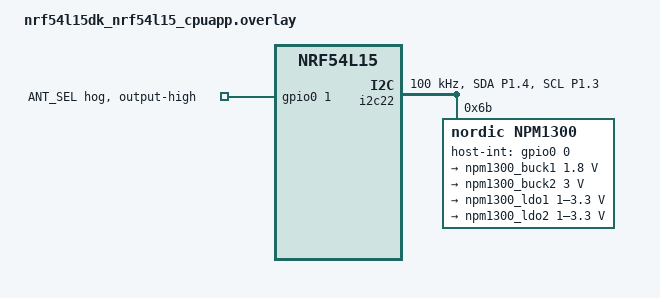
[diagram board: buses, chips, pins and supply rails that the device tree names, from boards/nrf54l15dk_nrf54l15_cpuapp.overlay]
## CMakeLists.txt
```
# SPDX-License-Identifier: Apache-2.0
cmake_minimum_required(VERSION 3.20.0)

find_package(Zephyr REQUIRED HINTS $ENV{ZEPHYR_BASE})
project(nordic_solar_04_ble_battery_solar)

target_sources(app PRIVATE
	src/main.c
	src/solar_service.c
)
```

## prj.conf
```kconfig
# Nordic_Solar — Stage 4: BLE peripheral (battery + solar status)

# --- nPM1300 charger sensor ---
CONFIG_I2C=y
CONFIG_MFD=y
CONFIG_REGULATOR=y
CONFIG_GPIO=y
CONFIG_SENSOR=y
CONFIG_NPM13XX_CHARGER=y
CONFIG_LED=y
CONFIG_LED_NPM13XX=y

# --- Bluetooth LE peripheral ---
CONFIG_BT=y
CONFIG_BT_PERIPHERAL=y
# Appearance 1360 = Generic Sensor
CONFIG_BT_DEVICE_NAME="Nordic_Solar"
CONFIG_BT_DEVICE_APPEARANCE=1360
CONFIG_BT_MAX_CONN=1

# Standard Battery Service
CONFIG_BT_BAS=y

# --- Floating point (log formatting / SoC math) ---
CONFIG_FPU=y
CONFIG_CBPRINTF_FP_SUPPORT=y

# --- Console / logging over RTT ---
CONFIG_LOG=y
CONFIG_USE_SEGGER_RTT=y
CONFIG_LOG_BACKEND_RTT=y
CONFIG_LOG_BACKEND_UART=n
CONFIG_SERIAL=n

# No 32.768 kHz crystal on this board (DK default is LFXO).
CONFIG_CLOCK_CONTROL_NRF_K32SRC_RC=y
CONFIG_NRF_GRTC_TIMER_SOURCE_LFLPRC=y
```

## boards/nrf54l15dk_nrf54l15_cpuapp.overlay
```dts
/*
 * Nordic_Solar — shared devicetree overlay for the nRF54L15 + nPM1300 board (v2)
 * Target: nrf54l15dk/nrf54l15/cpuapp
 *
 * This describes the nPM1300 PMIC as it is wired on your v2 board:
 *   - I2C @ 0x6B, 3.0 V bus (VDDIO = BUCK2)
 *   - BUCK1 = 1.8 V (RF antenna switch only), BUCK2 = 3.0 V (SoC + logic)
 *   - Charger fed by USB-C + solar diode-OR'd into VBUS/CHG_IN
 *   - NTC pin faked with a fixed 10 kOhm resistor (~25 C), no real thermistor
 *   - Status LED on nPM1300 LED0 (host-controlled)
 *
 * The SAME overlay is used by all four bring-up apps. Copy it into each app's
 * boards/ directory (it is already placed there).
 *
 * I2C (nRF54L15 QFN): SCL = pin 4 / P1.03, SDA = pin 5 / P1.04.
 * P1.03 is NFC2 by default — UICR nfct-pins-as-gpios is required or SCL
 * never leaves the pad. uart20 is disabled (DK uses P1.04 as UART TX).
 */

&uicr {
	nfct-pins-as-gpios;
};

&nfct {
	status = "disabled";
};

&pinctrl {
	i2c_pmic_default: i2c_pmic_default {
		group1 {
			psels = <NRF_PSEL(TWIM_SDA, 1, 4)>,    /* P1.04, QFN pin 5 */
				<NRF_PSEL(TWIM_SCL, 1, 3)>;    /* P1.03, QFN pin 4 */
			bias-pull-up;
		};
	};

	i2c_pmic_sleep: i2c_pmic_sleep {
		group1 {
			psels = <NRF_PSEL(TWIM_SDA, 1, 4)>,
				<NRF_PSEL(TWIM_SCL, 1, 3)>;
			low-power-enable;
		};
	};
};

/* DK uart20 uses P1.04 (our SDA). uart30 uses P0.00 (our PMIC_INT). */
&uart20 {
	status = "disabled";
};

&uart30 {
	status = "disabled";
};

&spi22 {
	status = "disabled";
};

/*
 * FM8625H antenna switch (VDD = BUCK1 / VOUT1 = 1.8 V):
 *   VCTL low  -> ANT to RF1 -> chip antenna (2450AT18A100E)
 *   VCTL high -> ANT to RF2 -> ECT818000500 connector
 * ANT_SEL = P0.01 (QFN pin 24). Hold high for the ECT818000500 connector.
 */
&gpio0 {
	ant_sel_hog {
		gpio-hog;
		gpios = <1 GPIO_ACTIVE_HIGH>;
		output-high;
		line-name = "ANT_SEL";
	};
};

/*
 * nRF54L15 DK board files enable the 32.768 kHz LFXO. This custom board
 * does not have that crystal, so GRTC init waits forever and main() never
 * runs. Use the internal LF RC instead.
 */
&lfxo {
	status = "disabled";
};

&i2c22 {
	status = "okay";
	pinctrl-0 = <&i2c_pmic_default>;
	pinctrl-1 = <&i2c_pmic_sleep>;
	pinctrl-names = "default", "sleep";
	clock-frequency = <I2C_BITRATE_STANDARD>;   /* 100 kHz; PMIC also supports 400 kHz */

	npm1300: pmic@6b {
		compatible = "nordic,npm1300";
		reg = <0x6b>;

		/* nPM1300 GPIO0 (pin 7) -> PMIC_INT -> nRF54L15 P0.00 (QFN pin 23). */
		host-int-gpios = <&gpio0 0 0>;
		pmic-int-pin   = <0>;

		npm1300_gpio: gpio-controller {
			compatible = "nordic,npm1300-gpio";
			gpio-controller;
			#gpio-cells = <2>;
			ngpios = <5>;
		};

		npm1300_regulators: regulators {
			compatible = "nordic,npm1300-regulator";

			/* BUCK1 = 1.8 V (RF antenna switch rail) — Config 1 sets this
			 * from the VSET resistors; declared here so it can be read back.
			 */
			npm1300_buck1: BUCK1 {
				regulator-min-microvolt = <1800000>;
				regulator-max-microvolt = <1800000>;
				regulator-boot-on;
			};

			/* BUCK2 = 3.0 V (VDDIO — powers the SoC; do NOT turn this off) */
			npm1300_buck2: BUCK2 {
				regulator-min-microvolt = <3000000>;
				regulator-max-microvolt = <3000000>;
				regulator-boot-on;
				regulator-always-on;
			};

			/* LDO1/LDO2 unused on this board */
			npm1300_ldo1: LDO1 {
				regulator-min-microvolt = <1000000>;
				regulator-max-microvolt = <3300000>;
			};
			npm1300_ldo2: LDO2 {
				regulator-min-microvolt = <1000000>;
				regulator-max-microvolt = <3300000>;
			};
		};

		npm1300_charger: charger {
			compatible = "nordic,npm1300-charger";

			/* --- LiPo charge profile (400 mAh cell) --- */
			term-microvolt = <4200000>;     /* 4.2 V CV termination */
			term-warm-microvolt = <4100000>;/* lower target when warm */
			current-microamp = <200000>;    /* 200 mA (~0.5C for 400 mAh) */
			term-current-percent = <10>;    /* stop at 10% of ICHG */

			/* --- Input current limit ---
			 * Default hardware limit is ~100 mA. Raise it so USB/solar can
			 * actually deliver charge current. 500 mA is safe for USB-C;
			 * for solar-only the SPV1040T just supplies what it can.
			 */
			vbus-limit-microamp = <500000>;

			/* --- Battery discharge current limit --- */
			dischg-limit-microamp = <1000000>;

			/* --- NTC / thermistor ---
			 * Your board fakes the NTC with a fixed 10k to GND (no real
			 * thermistor). A 10k/3380 config reads a static ~25 C, so
			 * charging never NTC-faults. WARNING: there is NO real battery
			 * temperature protection — see README before outdoor deployment.
			 */
			thermistor-ohms = <10000>;
			thermistor-beta = <3380>;

			/* Enable charging at boot. Comment out to leave the charger off
			 * and enable/observe behaviour purely from firmware.
			 */
			charging-enable;
		};

		/*
		 * nPM1300 LED driver. This registers ONE Zephyr LED device
		 * (nodelabel npm1300_leds); the three LEDs are addressed by index
		 * 0/1/2 through the LED API (e.g. led_on(dev, 0)). There are no
		 * child nodes.
		 *
		 * LED0 = board status LED (VSYS -> R14 -> nPM1300 pin 25).
		 * "host": solid as a bench load; 1 Hz blink while AEM
		 * is charging the cell (no VBUS, IBAT > 0).
		 */
		npm1300_leds: leds {
			compatible = "nordic,npm1300-led";
			nordic,led0-mode = "host";
			nordic,led1-mode = "error";
			nordic,led2-mode = "host";
		};
	};
};
```

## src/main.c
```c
/*
 * Nordic_Solar — Stage 4: BLE peripheral (battery + solar status)
 *
 * Combines everything: reads the nPM1300 charger, drives the standard
 * Bluetooth Battery Service (battery %), and publishes a custom service with
 * battery voltage, charge current, charge state, and VBUS/solar presence.
 *
 * LED0: solid as a bench load; 1 Hz blink while AEM is charging the cell.
 *
 * Test with "nRF Connect for Mobile":
 *   - Scan for "Nordic_Solar", connect.
 *   - Battery Service shows the level; the custom service (UUID 5c1b0000-...)
 *     exposes the packed status — enable notifications to watch it live.
 *
 * Console (RTT) mirrors the same values for bench debugging.
 */

#include <zephyr/kernel.h>
#include <zephyr/sys/atomic.h>
#include <zephyr/device.h>
#include <zephyr/drivers/led.h>
#include <zephyr/drivers/sensor.h>
#include <zephyr/drivers/sensor/npm13xx_charger.h>
#include <zephyr/bluetooth/bluetooth.h>
#include <zephyr/bluetooth/gatt.h>
#include <zephyr/bluetooth/services/bas.h>
#include <zephyr/logging/log.h>

#include "solar_service.h"

LOG_MODULE_REGISTER(main, LOG_LEVEL_INF);

#define CHARGER_NODE    DT_NODELABEL(npm1300_charger)
#define PMIC_LED_NODE   DT_NODELABEL(npm1300_leds)
#define STATUS_LED_IDX  0

#define CHG_STATUS_BATTERY_DETECTED BIT(0)
#define CHG_STATUS_COMPLETE         BIT(1)
#define CHG_STATUS_TRICKLE          BIT(2)
#define CHG_STATUS_CC               BIT(3)
#define CHG_STATUS_CV               BIT(4)

#define VBUS_PRESENT   BIT(0)

/* AEM10330 STO_CFG=LLLL (v3): charge to 4.05 V, ready 3.50 V, cut-off 3.00 V.
 * USB via nPM1300 still terminates at 4.20 V, so a USB-full cell is AEM-BLOCKED.
 */
#define AEM_VOVCH_MV        4050
#define AEM_VCHRDY_MV       3500
#define AEM_VOVDIS_MV       3000
#define AEM_IBAT_CHG_MA     3
#define VBAT_PRESENT_MIN_MV 2500
#define VBAT_PRESENT_MAX_MV 4500

/* Simple voltage->SoC estimate for a single LiPo cell. Good enough for a
 * status readout; swap in the nRF Fuel Gauge library (CONFIG_NRF_FUEL_GAUGE)
 * for accurate coulomb-counted SoC.
 */
#define VBAT_EMPTY_MV 3300
#define VBAT_FULL_MV  4200

/* LED0: solid until AEM charge, then one 200 ms blink each second. */
#define LED_BLINK_ON_MS       200
#define LED_BLINK_GAP_MS      200
#define LED_AEM_BURST         1
#define LED_AEM_PERIOD_MS     1000

enum status_led_mode {
	LED_MODE_OFF,
	LED_MODE_SOLID,
	LED_MODE_BLINK_AEM,
};

static const struct device *charger = DEVICE_DT_GET(CHARGER_NODE);
static const struct device *status_led = DEVICE_DT_GET(PMIC_LED_NODE);
static enum status_led_mode led_mode = LED_MODE_OFF;
static bool led_aem_charging;
static atomic_t ble_connected;
static atomic_t ble_advertising;
static uint8_t blink_burst;
static uint8_t blinks_remaining;
static uint32_t blink_period_ms;
static void led_blink_on_fn(struct k_work *work);
static void led_blink_off_fn(struct k_work *work);
static void led_refresh_fn(struct k_work *work);
static K_WORK_DELAYABLE_DEFINE(led_blink_on_work, led_blink_on_fn);
static K_WORK_DELAYABLE_DEFINE(led_blink_off_work, led_blink_off_fn);
static K_WORK_DEFINE(led_refresh_work, led_refresh_fn);

static const struct bt_data ad[] = {
	BT_DATA_BYTES(BT_DATA_FLAGS, (BT_LE_AD_GENERAL | BT_LE_AD_NO_BREDR)),
	BT_DATA(BT_DATA_NAME_COMPLETE, CONFIG_BT_DEVICE_NAME,
		sizeof(CONFIG_BT_DEVICE_NAME) - 1),
};

static uint8_t soc_from_mv(uint16_t mv)
{
	if (mv <= VBAT_EMPTY_MV) {
		return 0;
	}
	if (mv >= VBAT_FULL_MV) {
		return 100;
	}
	return (uint8_t)(((uint32_t)(mv - VBAT_EMPTY_MV) * 100) /
			 (VBAT_FULL_MV - VBAT_EMPTY_MV));
}

static enum solar_charge_state decode_state(int status, uint16_t vbat_mv)
{
	if (status & CHG_STATUS_COMPLETE) {
		return SOLAR_CHG_COMPLETE;
	}
	if (status & CHG_STATUS_CV) {
		return SOLAR_CHG_CV;
	}
	if (status & CHG_STATUS_CC) {
		return SOLAR_CHG_CC;
	}
	if (status & CHG_STATUS_TRICKLE) {
		return SOLAR_CHG_TRICKLE;
	}
	/* BIT(0) BATTERYDETECTED is reserved/always 0 on this nPM1300 path.
	 * A real LiPo voltage means the cell is present even when idle.
	 */
	if ((status & CHG_STATUS_BATTERY_DETECTED) ||
	    ((vbat_mv >= VBAT_PRESENT_MIN_MV) && (vbat_mv <= VBAT_PRESENT_MAX_MV))) {
		return SOLAR_CHG_IDLE;
	}
	return SOLAR_CHG_NO_BATTERY;
}

static const char *state_str(enum solar_charge_state s)
{
	switch (s) {
	case SOLAR_CHG_COMPLETE: return "COMPLETE";
	case SOLAR_CHG_CV:       return "CV";
	case SOLAR_CHG_CC:       return "CC";
	case SOLAR_CHG_TRICKLE:  return "TRICKLE";
	case SOLAR_CHG_IDLE:     return "IDLE";
	default:                 return "NO-BATT";
	}
}

static bool vbus_present(void)
{
	struct sensor_value val = {0};

	if (sensor_attr_get(charger,
			    (enum sensor_channel)SENSOR_CHAN_NPM13XX_CHARGER_VBUS_STATUS,
			    (enum sensor_attribute)SENSOR_ATTR_NPM13XX_CHARGER_VBUS_PRESENT,
			    &val) < 0) {
		return false;
	}
	return val.val1 != 0;
}

/* USB-C CC detect (not VBUS). Solar through the SPV1040T has no CC. */
static bool usb_cc_present(void)
{
	struct sensor_value val = {0};

	if (sensor_attr_get(charger, SENSOR_CHAN_CURRENT,
			    SENSOR_ATTR_UPPER_THRESH, &val) < 0) {
		return false;
	}
	return (val.val1 != 0) || (val.val2 != 0);
}

static bool charge_active(uint8_t chg)
{
	return (chg == SOLAR_CHG_TRICKLE) ||
	       (chg == SOLAR_CHG_CC) ||
	       (chg == SOLAR_CHG_CV);
}

static const char *aem_window_str(uint16_t mv)
{
	if (mv > AEM_VOVCH_MV) {
		return "AEM-BLOCKED";
	}
	if (mv >= AEM_VCHRDY_MV) {
		return "AEM-OK";
	}
	if (mv >= AEM_VOVDIS_MV) {
		return "AEM-LOW";
	}
	return "AEM-CUTOFF";
}

static const char *input_src_str(bool vbus, bool usb_cc, bool charging, bool aem_chg)
{
	if (vbus) {
		if (usb_cc) {
			return charging ? "USB" : "USB-IDLE";
		}
		return charging ? "USB-NO-CC" : "USB-NO-CC-IDLE";
	}
	return aem_chg ? "AEM" : "BATTERY";
}

static int read_pmic(struct solar_status *s, bool *usb_cc, bool *aem_chg,
		     int *chg_raw, int *err_raw, int *vbus_raw)
{
	struct sensor_value v_bat = {0}, i_bat = {0}, chg = {0}, err = {0}, vbus = {0};
	int ret;

	s->vbus_present = vbus_present() ? 1 : 0;
	*usb_cc = usb_cc_present();

	ret = sensor_sample_fetch(charger);
	if (ret < 0) {
		s->vbat_mv = 0;
		s->ibat_ma = 0;
		s->charge_state = SOLAR_CHG_NO_BATTERY;
		s->battery_pct = 0;
		*aem_chg = false;
		*chg_raw = 0;
		*err_raw = 0;
		*vbus_raw = 0;
		return ret;
	}

	sensor_channel_get(charger, SENSOR_CHAN_GAUGE_VOLTAGE, &v_bat);
	sensor_channel_get(charger, SENSOR_CHAN_GAUGE_AVG_CURRENT, &i_bat);
	sensor_channel_get(charger, SENSOR_CHAN_NPM13XX_CHARGER_STATUS, &chg);
	sensor_channel_get(charger, SENSOR_CHAN_NPM13XX_CHARGER_ERROR, &err);
	sensor_channel_get(charger, SENSOR_CHAN_NPM13XX_CHARGER_VBUS_STATUS, &vbus);

	float vbat_f = (float)v_bat.val1 + (float)v_bat.val2 / 1000000.0f;
	float ibat_f = (float)i_bat.val1 + (float)i_bat.val2 / 1000000.0f;

	s->vbat_mv = (uint16_t)(vbat_f * 1000.0f);
	s->ibat_ma = (int16_t)(ibat_f * 1000.0f);
	s->charge_state = (uint8_t)decode_state(chg.val1, s->vbat_mv);
	s->battery_pct = soc_from_mv(s->vbat_mv);
	s->vbus_present = (vbus.val1 & VBUS_PRESENT) ? 1 : s->vbus_present;
	*aem_chg = !s->vbus_present && (s->ibat_ma >= AEM_IBAT_CHG_MA);
	*chg_raw = chg.val1;
	*err_raw = err.val1;
	*vbus_raw = vbus.val1;
	return 0;
}

static bool led_is_blinking(enum status_led_mode mode)
{
	return mode == LED_MODE_BLINK_AEM;
}

static enum status_led_mode led_desired_mode(void)
{
	if (led_aem_charging) {
		return LED_MODE_BLINK_AEM;
	}
	return LED_MODE_SOLID;
}

static void led_apply(bool on)
{
	if (!device_is_ready(status_led)) {
		return;
	}

	if (on) {
		led_on(status_led, STATUS_LED_IDX);
	} else {
		led_off(status_led, STATUS_LED_IDX);
	}
}

static void led_blink_stop(void)
{
	(void)k_work_cancel_delayable(&led_blink_on_work);
	(void)k_work_cancel_delayable(&led_blink_off_work);
}

static void led_blink_on_fn(struct k_work *work)
{
	ARG_UNUSED(work);

	if (!led_is_blinking(led_mode)) {
		return;
	}

	led_apply(true);
	k_work_schedule(&led_blink_off_work, K_MSEC(LED_BLINK_ON_MS));
}

static void led_blink_off_fn(struct k_work *work)
{
	uint32_t used_ms;
	uint32_t rest_ms;

	ARG_UNUSED(work);

	if (!led_is_blinking(led_mode)) {
		return;
	}

	led_apply(false);

	if (blinks_remaining > 0) {
		blinks_remaining--;
	}

	if (blinks_remaining > 0) {
		k_work_schedule(&led_blink_on_work, K_MSEC(LED_BLINK_GAP_MS));
		return;
	}

	blinks_remaining = blink_burst;
	used_ms = (uint32_t)blink_burst * LED_BLINK_ON_MS;
	if (blink_burst > 0) {
		used_ms += (uint32_t)(blink_burst - 1) * LED_BLINK_GAP_MS;
	}
	rest_ms = (blink_period_ms > used_ms) ? (blink_period_ms - used_ms) : 0;
	k_work_schedule(&led_blink_on_work, K_MSEC(rest_ms));
}

static void led_refresh_fn(struct k_work *work)
{
	enum status_led_mode mode = led_desired_mode();

	ARG_UNUSED(work);

	if (mode == led_mode) {
		return;
	}

	led_mode = mode;
	led_blink_stop();
	LOG_INF("LED mode %s",
		mode == LED_MODE_SOLID ? "solid" :
		mode == LED_MODE_BLINK_AEM ? "blink-aem" : "off");

	switch (mode) {
	case LED_MODE_SOLID:
		led_apply(true);
		break;
	case LED_MODE_BLINK_AEM:
		blink_burst = LED_AEM_BURST;
		blink_period_ms = LED_AEM_PERIOD_MS;
		blinks_remaining = blink_burst;
		led_blink_on_fn(NULL);
		break;
	default:
		led_apply(false);
		break;
	}
}

static void status_led_update(const struct solar_status *s, bool aem_chg)
{
	ARG_UNUSED(s);
	led_aem_charging = aem_chg;
	(void)k_work_submit(&led_refresh_work);
}

static void status_led_set_connected(bool connected)
{
	atomic_set(&ble_connected, connected ? 1 : 0);
	(void)k_work_submit(&led_refresh_work);
}

static int start_advertising(void)
{
	int ret = bt_le_adv_start(BT_LE_ADV_CONN_FAST_1, ad, ARRAY_SIZE(ad),
				  NULL, 0);

	if (ret && ret != -EALREADY) {
		atomic_set(&ble_advertising, 0);
		LOG_ERR("advertising start failed (%d)", ret);
		(void)k_work_submit(&led_refresh_work);
		return ret;
	}
	atomic_set(&ble_advertising, 1);
	(void)k_work_submit(&led_refresh_work);
	LOG_INF("Advertising as \"%s\"", CONFIG_BT_DEVICE_NAME);
	return 0;
}

/* NCS 3.x: do not call bt_le_adv_start() from disconnected — the conn
 * object is still held (CONFIG_BT_MAX_CONN=1 -> -ENOMEM). Wait for
 * .recycled, then start from a work item (callback is ISR-like).
 */
static void adv_work_handler(struct k_work *work)
{
	ARG_UNUSED(work);
	(void)start_advertising();
}

static K_WORK_DEFINE(adv_work, adv_work_handler);

static void request_advertising(void)
{
	(void)k_work_submit(&adv_work);
}

static void on_connected(struct bt_conn *conn, uint8_t err)
{
	if (err) {
		LOG_ERR("connection failed (0x%02x)", err);
		request_advertising();
		return;
	}
	LOG_INF("BLE connected");
	atomic_set(&ble_advertising, 0);
	status_led_set_connected(true);
}

static void on_disconnected(struct bt_conn *conn, uint8_t reason)
{
	ARG_UNUSED(conn);
	LOG_INF("BLE disconnected (0x%02x)", reason);
	/* Heartbeat immediately; recycled will restart advertising. */
	atomic_set(&ble_advertising, 1);
	status_led_set_connected(false);
}

static void on_recycled(void)
{
	request_advertising();
}

BT_CONN_CB_DEFINE(conn_callbacks) = {
	.connected = on_connected,
	.disconnected = on_disconnected,
	.recycled = on_recycled,
};

int main(void)
{
	struct solar_status s;
	int ret;
	int last_vbat_mv = -1;

	LOG_INF("Nordic_Solar bring-up — Stage 4: BLE battery + AEM/solar service");

	if (!device_is_ready(charger)) {
		LOG_ERR("nPM1300 charger not ready — check I2C wiring/overlay");
		return -ENODEV;
	}

	led_apply(true);
	led_mode = LED_MODE_SOLID;
	LOG_INF("LED held on");

	ret = bt_enable(NULL);
	if (ret) {
		LOG_ERR("bt_enable failed (%d)", ret);
		return ret;
	}
	LOG_INF("Bluetooth initialized");

	request_advertising();

	while (1) {
		bool usb_cc = false;
		bool aem_chg = false;
		int chg_raw = 0;
		int err_raw = 0;
		int vbus_raw = 0;
		int dv_mv = 0;

		ret = read_pmic(&s, &usb_cc, &aem_chg, &chg_raw, &err_raw, &vbus_raw);
		if (ret < 0) {
			LOG_ERR("nPM1300 sample fetch failed (%d)", ret);
			k_msleep(2000);
			continue;
		}

		bt_bas_set_battery_level(s.battery_pct);
		solar_service_update(&s);
		status_led_update(&s, aem_chg);

		if (last_vbat_mv >= 0) {
			dv_mv = (int)s.vbat_mv - last_vbat_mv;
		}
		last_vbat_mv = s.vbat_mv;

		LOG_INF("SRC:%s | VBUS %s | USB-CC %s | %s | I %+d mA %s | "
			"VBAT %u mV dV %+d | %s | chg=0x%02x err=0x%02x vbus=0x%02x",
			input_src_str(s.vbus_present, usb_cc,
				      charge_active(s.charge_state), aem_chg),
			s.vbus_present ? "yes" : "no",
			usb_cc ? "yes" : "no",
			state_str((enum solar_charge_state)s.charge_state),
			s.ibat_ma,
			(s.ibat_ma > 0) ? "chg" : ((s.ibat_ma < 0) ? "dis" : "idle"),
			s.vbat_mv, dv_mv, aem_window_str(s.vbat_mv),
			chg_raw, err_raw, vbus_raw);

		k_msleep(2000);
	}

	return 0;
}
```

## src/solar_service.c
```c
/*
 * Nordic_Solar — custom BLE GATT service implementation.
 *
 * One characteristic (read + notify) carrying a packed struct solar_status.
 * Read it or subscribe to notifications from the nRF Connect for Mobile app.
 */

#include <zephyr/bluetooth/bluetooth.h>
#include <zephyr/bluetooth/gatt.h>
#include <zephyr/bluetooth/uuid.h>
#include <zephyr/logging/log.h>
#include <string.h>

#include "solar_service.h"

LOG_MODULE_REGISTER(solar_svc, LOG_LEVEL_INF);

static struct bt_uuid_128 solar_svc_uuid = BT_UUID_INIT_128(BT_UUID_SOLAR_SVC_VAL);
static struct bt_uuid_128 solar_status_uuid = BT_UUID_INIT_128(BT_UUID_SOLAR_STATUS_VAL);

static struct solar_status last_status;
static bool notify_enabled;

static ssize_t read_status(struct bt_conn *conn, const struct bt_gatt_attr *attr,
			   void *buf, uint16_t len, uint16_t offset)
{
	return bt_gatt_attr_read(conn, attr, buf, len, offset,
				 &last_status, sizeof(last_status));
}

static void status_ccc_changed(const struct bt_gatt_attr *attr, uint16_t value)
{
	notify_enabled = (value == BT_GATT_CCC_NOTIFY);
	LOG_INF("status notifications %s", notify_enabled ? "enabled" : "disabled");
}

/* Attribute layout: [0]=service, [1]=chrc decl, [2]=chrc value, [3]=CCC */
BT_GATT_SERVICE_DEFINE(solar_svc,
	BT_GATT_PRIMARY_SERVICE(&solar_svc_uuid),
	BT_GATT_CHARACTERISTIC(&solar_status_uuid.uuid,
			       BT_GATT_CHRC_READ | BT_GATT_CHRC_NOTIFY,
			       BT_GATT_PERM_READ,
			       read_status, NULL, &last_status),
	BT_GATT_CCC(status_ccc_changed,
		    BT_GATT_PERM_READ | BT_GATT_PERM_WRITE),
);

void solar_service_update(const struct solar_status *s)
{
	memcpy(&last_status, s, sizeof(last_status));

	if (!notify_enabled) {
		return;
	}

	/* Notify on the characteristic value attribute (index 2). */
	(void)bt_gatt_notify(NULL, &solar_svc.attrs[2],
			     &last_status, sizeof(last_status));
}
```

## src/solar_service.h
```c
/*
 * Nordic_Solar — custom BLE GATT service: battery + solar/charge status
 */
#ifndef SOLAR_SERVICE_H_
#define SOLAR_SERVICE_H_

#include <zephyr/types.h>
#include <stdbool.h>

/* 128-bit vendor UUIDs (private, randomly assigned for this project).
 * Service : 5c1b0000-9f2a-4b6d-8e3f-1a2b3c4d5e6f
 * Status  : 5c1b0001-9f2a-4b6d-8e3f-1a2b3c4d5e6f
 */
#define BT_UUID_SOLAR_SVC_VAL \
	BT_UUID_128_ENCODE(0x5c1b0000, 0x9f2a, 0x4b6d, 0x8e3f, 0x1a2b3c4d5e6f)
#define BT_UUID_SOLAR_STATUS_VAL \
	BT_UUID_128_ENCODE(0x5c1b0001, 0x9f2a, 0x4b6d, 0x8e3f, 0x1a2b3c4d5e6f)

/* Charge state values matching the nPM1300 status decode. */
enum solar_charge_state {
	SOLAR_CHG_NO_BATTERY = 0,
	SOLAR_CHG_IDLE       = 1,
	SOLAR_CHG_TRICKLE    = 2,
	SOLAR_CHG_CC         = 3,
	SOLAR_CHG_CV         = 4,
	SOLAR_CHG_COMPLETE   = 5,
};

/* Packed payload of the status characteristic (7 bytes, little-endian). */
struct solar_status {
	uint16_t vbat_mv;      /* battery voltage, millivolts */
	int16_t  ibat_ma;      /* battery current, milliamps (+ = charging) */
	uint8_t  charge_state; /* enum solar_charge_state */
	uint8_t  vbus_present; /* 1 = USB/solar input present */
	uint8_t  battery_pct;  /* 0..100 estimated state of charge */
} __packed;

/* Push a new snapshot into the characteristic and notify subscribers. */
void solar_service_update(const struct solar_status *s);

#endif /* SOLAR_SERVICE_H_ */
```
